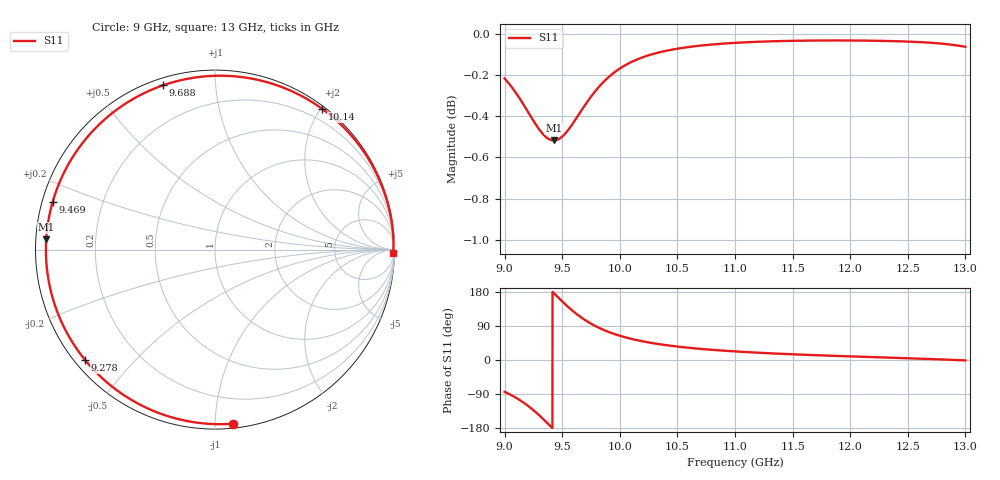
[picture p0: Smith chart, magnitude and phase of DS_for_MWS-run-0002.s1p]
! TOUCHSTONE file generated by CST DESIGN STUDIO
! Date and time: Tue Feb  4 14:20:46 2025
! Project name: C:\Work\MatlabApps\UnitCellOptimizationMatlab\CST\unitcell.cst
! Tree item: Tasks\Sweep1\SPara1\S-Parameters
! Header version: 2024
! Port assignment regex: !\s*Touchstone port\s*([0-9]+)\s*=\s*(CST MWS port|CST DES external port|CST DES block port)\s*(.+)\s* \(\"(.*)\"\)(\s*mode\s*([0-9]+))?.*
! Touchstone port assignment:
! Touchstone port 1 = CST DES external port 1 ("")
# GHz S MA R 50
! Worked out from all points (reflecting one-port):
!   4001 points, 9 GHz to 13 GHz, reference 50 ohm
!   lowest |S11| = -0.5 dB at 9.427 GHz (marker M1), VSWR 33.58, Z = 1.49 + j1.53 ohm
!   phase of S11 starts at -84 deg and turns -277 deg over the sweep
!   S11 on the Smith chart (normalised r, x): 9 GHz: 0.03, -1.11; 9.278 GHz: 0.03, -0.37; 9.469 GHz: 0.03, +0.14; 9.688 GHz: 0.03, +0.73; 10.14 GHz: 0.04, +2.02; 13 GHz: 35, -93
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9  0.9754 -84.1
9.084  0.9688 -97.1
9.154  0.9623 -110.3
9.217  0.9559 -124.3
9.278  0.9499 -139.7
9.32  0.9464 -151.4
9.357  0.944 -162.3
9.392  0.9426 -172.8
9.427  0.9422 176.5
9.469  0.9429 163.7
9.5  0.9442 154.5
9.547  0.9473 141.2
9.593  0.9512 129.1
9.639  0.9555 118.1
9.688  0.9601 107.5
9.758  0.9662 94.5
9.841  0.9724 81.8
9.918  0.977 72.3
10  0.9809 64.0
10.144  0.9857 52.7
10.305  0.9892 43.5
10.5  0.9918 35.4
10.723  0.9937 28.7
11  0.995 22.7
11.5  0.9962 15.0
12  0.9964 9.5
12.5  0.9958 4.6
13  0.9929 -1.1
